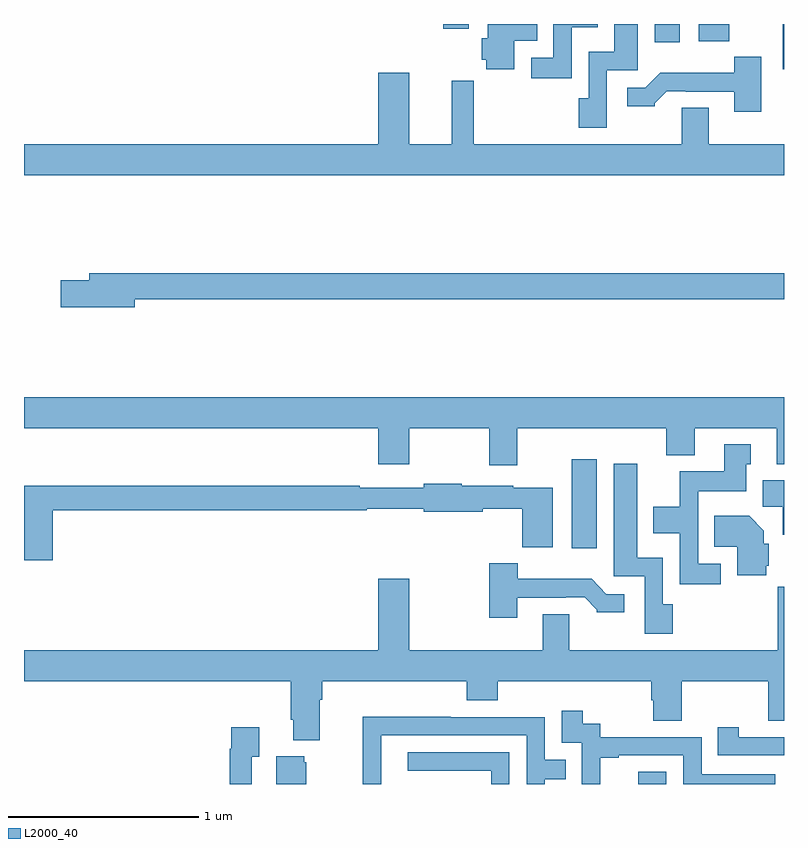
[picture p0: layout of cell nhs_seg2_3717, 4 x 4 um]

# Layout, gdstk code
import gdstk
lib = gdstk.Library(unit=1e-6, precision=1e-09)
def R(c, l, rs):  # rectangles x0, y0, x1, y1
    for r in rs: c.add(gdstk.rectangle(r[:2], r[2:], *l))
def P(c, l, *ps):  # polygons
    for p in ps: c.add(gdstk.Polygon(p, *l))
L2000_40 = (2000, 40)

nhs_seg2_3717 = lib.new_cell('nhs_seg2_3717')
R(nhs_seg2_3717, L2000_40, [(310.233,609.8,310.38,609.865), (309.884,611.04,310.015,611.509), (310.994,613.562,311,613.8), (310.319,613.704,310.45,613.8), (310.55,613.709,310.712,613.8), (309.206,613.776,309.34,613.8)])
P(nhs_seg2_3717, L2000_40, [(309.58,613.712),(309.701,613.712),(309.701,613.8),(309.442,613.8),(309.44,613.798),(309.44,613.725),(309.41,613.725),(309.41,613.611),(309.433,613.611),(309.433,613.562),(309.58,613.562)],
  [(309.882,613.784),(310.021,613.784),(310.021,613.8),(309.786,613.8),(309.786,613.623),(309.669,613.623),(309.669,613.515),(309.882,613.515)],
  [(310.068,613.557),(310.231,613.557),(310.231,613.8),(310.106,613.8),(310.106,613.654),(309.972,613.654),(309.972,613.41),(309.92,613.41),(309.92,613.254),(310.068,613.254)],
  [(310.879,613.627),(310.737,613.627),(310.737,613.543),(310.348,613.543),(310.269,613.464),(310.176,613.464),(310.176,613.367),(310.32,613.367),(310.32,613.382),(310.384,613.446),(310.483,613.446),(310.483,613.443),(310.739,613.443),(310.739,613.338),(310.879,613.338)],
  [(311,613.168),(310.603,613.168),(310.603,613.358),(310.463,613.358),(310.463,613.168),(309.368,613.168),(309.368,613.501),(309.25,613.501),(309.25,613.168),(309.028,613.168),(309.028,613.543),(308.864,613.543),(308.864,613.168),(307,613.168),(307,613.004),(311,613.004)],
  [(307.582,612.352),(311,612.352),(311,612.488),(307.343,612.488),(307.343,612.452),(307.194,612.452),(307.194,612.31),(307.582,612.31)],
  [(307,611.672),(308.864,611.672),(308.864,611.484),(309.028,611.484),(309.028,611.672),(309.448,611.672),(309.448,611.478),(309.595,611.478),(309.595,611.672),(310.379,611.672),(310.379,611.531),(310.531,611.531),(310.531,611.672),(310.961,611.672),(310.961,611.483),(311,611.483),(311,611.836),(307,611.836)],
  [(310.666,610.959),(310.548,610.959),(310.548,611.342),(310.801,611.342),(310.801,611.484),(310.825,611.484),(310.825,611.587),(310.685,611.587),(310.685,611.446),(310.45,611.446),(310.45,611.26),(310.313,611.26),(310.313,611.12),(310.452,611.12),(310.452,610.851),(310.666,610.851)],
  [(310.415,610.746),(310.362,610.746),(310.362,610.99),(310.228,610.99),(310.228,611.485),(310.103,611.485),(310.103,610.893),(310.266,610.893),(310.266,610.59),(310.415,610.59)],
  [(311,611.398),(310.889,611.398),(310.889,611.26),(310.994,611.26),(310.994,611.112),(311,611.112)],
  [(307.151,611.242),(308.804,611.242),(308.804,611.25),(309.104,611.25),(309.104,611.234),(309.414,611.234),(309.414,611.249),(309.622,611.249),(309.622,611.045),(309.784,611.045),(309.784,611.359),(309.576,611.359),(309.576,611.371),(309.304,611.371),(309.304,611.379),(309.104,611.379),(309.104,611.358),(308.768,611.358),(308.768,611.371),(307,611.371),(307,610.977),(307.151,610.977)],
  [(310.907,610.95),(310.92,610.95),(310.92,611.064),(310.894,611.064),(310.894,611.134),(310.816,611.212),(310.633,611.212),(310.633,611.048),(310.754,611.048),(310.754,610.898),(310.907,610.898)],
  [(309.595,610.779),(309.851,610.779),(309.851,610.782),(309.95,610.782),(310.014,610.718),(310.014,610.703),(310.159,610.703),(310.159,610.8),(310.065,610.8),(309.987,610.879),(309.598,610.879),(309.598,610.963),(309.448,610.963),(309.448,610.674),(309.595,610.674)],
  [(308.557,610.244),(308.57,610.244),(308.57,610.34),(309.329,610.34),(309.329,610.241),(309.494,610.241),(309.494,610.34),(310.301,610.34),(310.301,610.242),(310.313,610.242),(310.313,610.132),(310.461,610.132),(310.461,610.34),(310.918,610.34),(310.918,610.132),(311,610.132),(311,610.837),(310.966,610.837),(310.966,610.504),(309.871,610.504),(309.871,610.694),(309.731,610.694),(309.731,610.504),(309.028,610.504),(309.028,610.879),(308.864,610.879),(308.864,610.504),(307,610.504),(307,610.34),(308.405,610.34),(308.405,610.138),(308.417,610.138),(308.417,610.031),(308.557,610.031)],
  [(310.034,609.939),(310.129,609.939),(310.129,609.951),(310.47,609.951),(310.47,609.8),(310.955,609.8),(310.955,609.852),(310.566,609.852),(310.566,610.047),(310.032,610.047),(310.032,610.116),(309.94,610.116),(309.94,610.186),(309.831,610.186),(309.831,610.017),(309.936,610.017),(309.936,609.8),(310.034,609.8)],
  [(308.88,610.056),(309.645,610.056),(309.645,609.8),(309.741,609.8),(309.741,609.826),(309.851,609.826),(309.851,609.927),(309.741,609.927),(309.741,610.152),(309.245,610.152),(309.245,610.154),(308.782,610.154),(308.782,609.847),(308.784,609.847),(308.784,609.8),(308.88,609.8)],
  [(311,610.047),(310.762,610.047),(310.762,610.099),(310.651,610.099),(310.651,609.951),(311,609.951)],
  [(308.199,609.943),(308.239,609.943),(308.239,610.099),(308.091,610.099),(308.091,609.986),(308.083,609.986),(308.083,609.8),(308.199,609.8)],
  [(309.555,609.966),(309.021,609.966),(309.021,609.87),(309.459,609.87),(309.459,609.8),(309.555,609.8)],
  [(308.485,609.915),(308.474,609.915),(308.474,609.946),(308.327,609.946),(308.327,609.8),(308.485,609.8)])

lib.write_gds('nhs_seg2_3717.gds')
